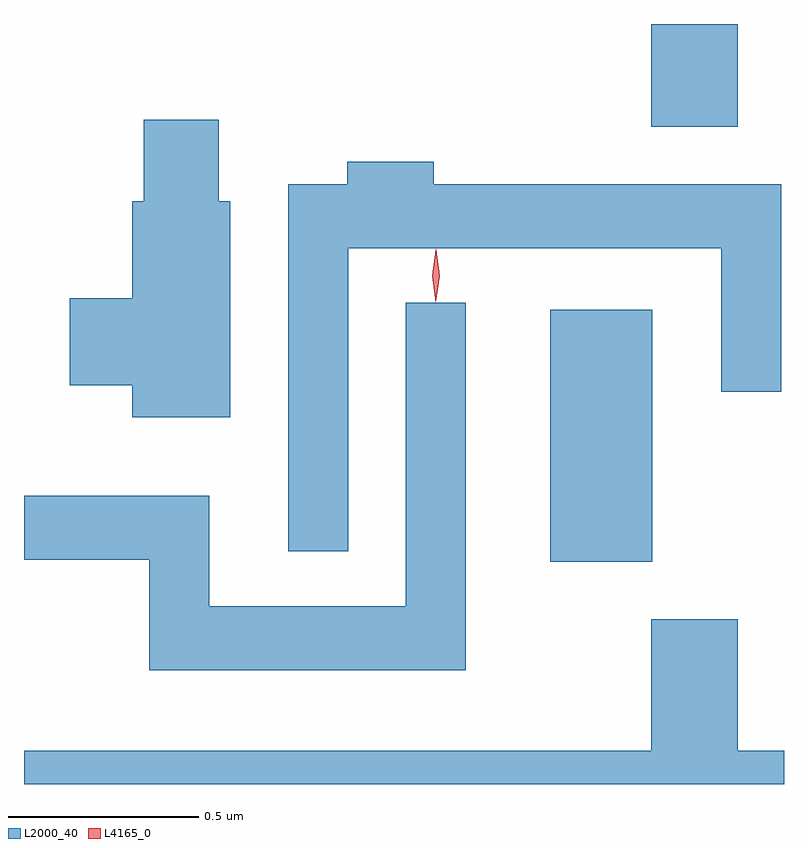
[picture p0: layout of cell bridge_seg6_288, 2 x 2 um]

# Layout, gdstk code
import gdstk
lib = gdstk.Library(unit=1e-6, precision=1e-09)
def R(c, l, rs):  # rectangles x0, y0, x1, y1
    for r in rs: c.add(gdstk.rectangle(r[:2], r[2:], *l))
def P(c, l, *ps):  # polygons
    for p in ps: c.add(gdstk.Polygon(p, *l))
L2000_40 = (2000, 40)
L4165_0 = (4165, 0)

bridge_seg6_288 = lib.new_cell('bridge_seg6_288')
R(bridge_seg6_288, L2000_40, [(1317.116,1555.241,1317.384,1555.904), (1317.381,1556.386,1317.609,1556.656)])
P(bridge_seg6_288, L2000_40, [(1316.274,1556.189),(1316.244,1556.189),(1316.244,1556.404),(1316.046,1556.404),(1316.046,1556.189),(1316.016,1556.189),(1316.016,1555.934),(1315.851,1555.934),(1315.851,1555.706),(1316.016,1555.706),(1316.016,1555.621),(1316.274,1555.621)],
  [(1316.584,1556.066),(1317.566,1556.066),(1317.566,1555.688),(1317.724,1555.688),(1317.724,1556.234),(1316.809,1556.234),(1316.809,1556.294),(1316.581,1556.294),(1316.581,1556.234),(1316.426,1556.234),(1316.426,1555.268),(1316.584,1555.268)],
  [(1316.894,1555.923),(1316.736,1555.923),(1316.736,1555.124),(1316.219,1555.124),(1316.219,1555.414),(1315.731,1555.414),(1315.731,1555.246),(1316.061,1555.246),(1316.061,1554.956),(1316.894,1554.956)],
  [(1317.731,1554.744),(1317.609,1554.744),(1317.609,1555.089),(1317.381,1555.089),(1317.381,1554.744),(1315.731,1554.744),(1315.731,1554.656),(1317.731,1554.656)])
P(bridge_seg6_288, L4165_0, [(1316.814,1555.927),(1316.805,1555.994),(1316.814,1556.06),(1316.815,1556.061),(1316.815,1556.06),(1316.825,1555.994),(1316.815,1555.927),(1316.815,1555.927)],
  [(1316.814,1555.924),(1316.805,1555.993),(1316.815,1556.062),(1316.816,1556.063),(1316.816,1556.062),(1316.825,1555.993),(1316.815,1555.924),(1316.815,1555.924)])

lib.write_gds('bridge_seg6_288.gds')
